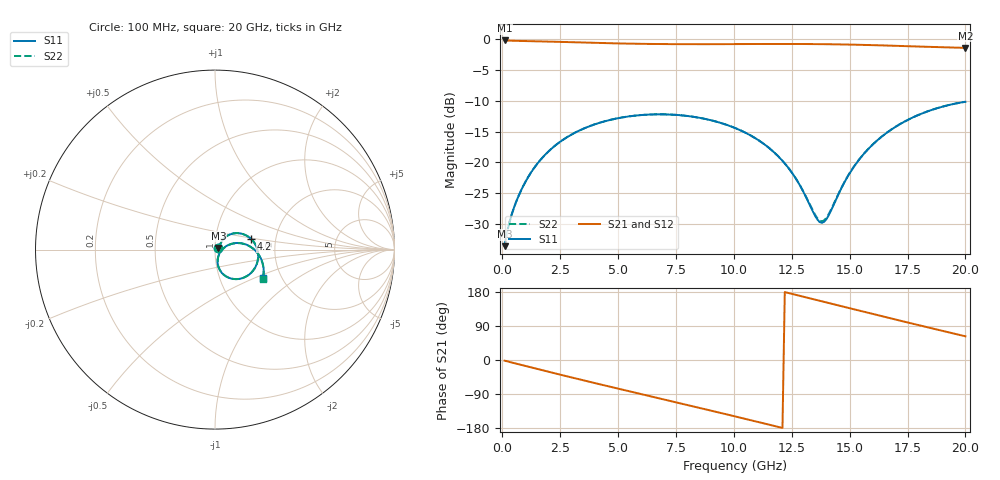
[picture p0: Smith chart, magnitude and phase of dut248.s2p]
! Touchstone file exported from HFSS 2026.1.0
!  File:  C:/ffzhzh/LocalFiles/Ansys_Project_Files/temp_train_TSV_RDL_248_1783067445_18316.aedt
!  Generated:  04:41:17 PM Jul  3, 2026
!  Design:  TSV_RDL
!  Project:  temp_train_TSV_RDL_248_1783067445_18316
! Variables:
!  h_bsmrdl = 5.67um
!  h_ox = 20um
!  h_rdl = 5um
!  h_sub = 50.79um
!  h_tmrdl = 4.34um
!  h_tsv = 50.79um
!  h_via = 3um
!  l_bsmrdl = 879.25um
!  l_sub = 5192.75um
!  l_tmrdl = 504.01um
!  m_sub = 200um
!  pitch = 32.42um
!  r_tsv = 4.31um
!  s_tmrdl = 10um
!  w_bsmrdl = 17.73um
!  w_sub = 500um
!  w_tmrdl = 28.59um
!  x_tsv_center1 = 518.305um
!  x_tsv_center2 = 1415.285um
!  x_tsv_center3 = 1947.885um
!  x_tsv_center4 = 2844.865um
!  x_tsv_center5 = 3377.465um
!  x_tsv_center6 = 4274.445um
# GHz S MA R 50.000000
! Terminal data exported
! Port[1] = TM_RDL1_1_T1
! Port[2] = TM_RDL5_1_T1
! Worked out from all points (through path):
!   200 points, 100 MHz to 20 GHz, reference 50 ohm
!   highest |S21| = -0.16 dB at 100 MHz (marker M1); lowest = -1.4 dB at 20 GHz (marker M2)
!   group delay of S21, straight-line fit = 41.2 ps
!   lowest |S11| = -33.6 dB at 100 MHz (marker M3), VSWR 1.04, Z = 51.9 + j0.884 ohm
!   |S11| at or under -10 dB: start of sweep to end of sweep
!   |S22| runs from -33.6 to -10.1 dB; largest |S21 - S12| = 3.2e-14
!   S11 on the Smith chart (normalised r, x): 100 MHz: 1.04, +0.02; 4.2 GHz: 1.49, +0.18; 20 GHz: 1.60, -0.57
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0.1  0.02084 24.1  0.9812 -1.7  0.9812 -1.7  0.02084 24.1
! Gamma 0 0 0 0
! Port Impedance 50 0 50 0
0.3  0.03218 41.0  0.9774 -4.9  0.9774 -4.9  0.03218 41.0
0.5  0.04265 47.0  0.975 -8.0  0.975 -8.0  0.04265 47.0
0.9  0.06406 51.4  0.9718 -14.2  0.9718 -14.2  0.06406 51.4
1.3  0.08608 50.7  0.9684 -20.4  0.9684 -20.4  0.08608 50.7
2.3  0.1379 41.0  0.9577 -35.7  0.9577 -35.7  0.1379 41.0
3.5  0.188 25.5  0.9433 -53.6  0.9433 -53.6  0.1879 25.6
4.2  0.2101 16.2  0.9356 -63.9  0.9356 -63.9  0.2101 16.2
5.5  0.2372 -1.0  0.9242 -82.8  0.9242 -82.8  0.2372 -1.0
6.8  0.2462 -18.0  0.9174 -101.5  0.9174 -101.5  0.2462 -18.0
8.4  0.2326 -38.5  0.9147 -124.6  0.9147 -124.6  0.2326 -38.4
10.1  0.1889 -59.4  0.9166 -149.5  0.9166 -149.5  0.1889 -59.3
11.1  0.15 -70.5  0.9182 -164.3  0.9182 -164.3  0.15 -70.2
12  0.108 -78.0  0.9191 -177.8  0.9191 -177.8  0.1082 -77.6
12.7  0.07263 -78.8  0.9187 171.6  0.9187 171.6  0.07295 -78.2
13.4  0.04033 -61.8  0.9172 161.0  0.9172 161.0  0.04101 -61.0
13.7  0.03281 -39.8  0.9161 156.5  0.9161 156.5  0.0337 -39.4
13.9  0.03284 -21.0  0.9153 153.4  0.9153 153.4  0.03377 -21.2
15.3  0.09889 19.3  0.9058 132.1  0.9058 132.1  0.09929 18.7
16.7  0.1795 8.5  0.8912 111.0  0.8912 111.0  0.1797 8.1
18.3  0.2573 -10.1  0.8718 87.3  0.8718 87.3  0.2575 -10.3
20  0.3112 -31.1  0.8543 62.6  0.8543 62.6  0.3113 -31.3
